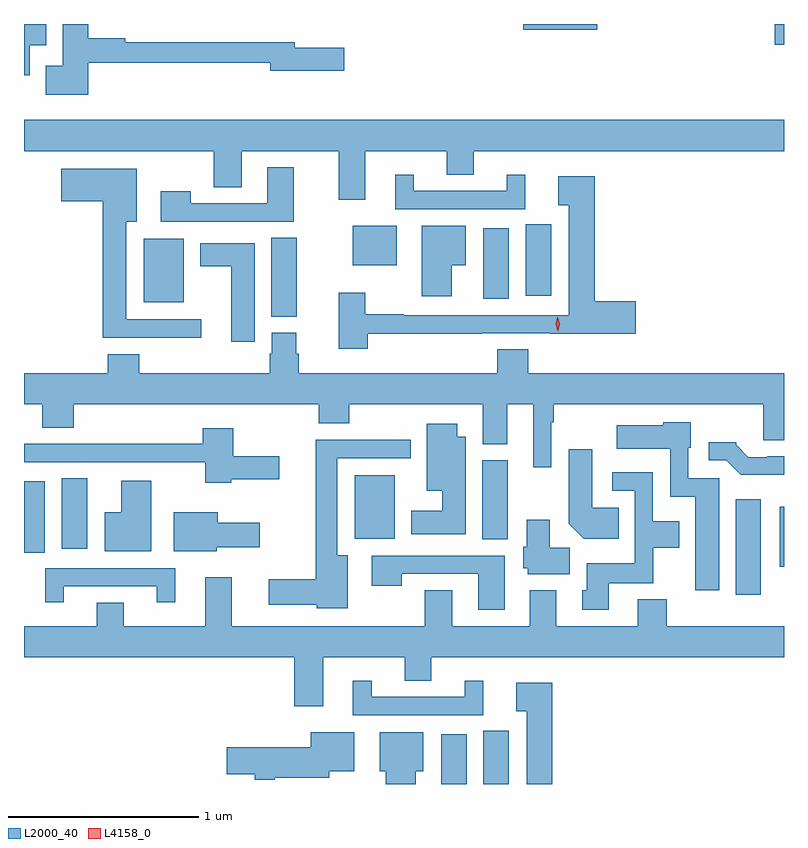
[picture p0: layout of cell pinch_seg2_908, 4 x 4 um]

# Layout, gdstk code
import gdstk
lib = gdstk.Library(unit=1e-6, precision=1e-09)
def R(c, l, rs):  # rectangles x0, y0, x1, y1
    for r in rs: c.add(gdstk.rectangle(r[:2], r[2:], *l))
def P(c, l, *ps):  # polygons
    for p in ps: c.add(gdstk.Polygon(p, *l))
L2000_40 = (2000, 40)
L4158_0 = (4158, 0)

pinch_seg2_908 = lib.new_cell('pinch_seg2_908')
R(pinch_seg2_908, L2000_40, [(603.14,640.309,603.274,640.57), (603.362,640.309,603.496,640.59), (604.691,641.304,604.822,641.809), (604.922,641.453,604.944,641.767), (600.944,641.526,601.054,641.902), (601.142,641.547,601.276,641.918), (603.356,641.596,603.49,642.012), (602.684,641.6,602.896,641.935), (602.246,642.769,602.38,643.184), (601.574,642.845,601.786,643.18), (603.362,642.862,603.496,643.234), (603.584,642.879,603.718,643.254), (602.675,643.04,602.905,643.246), (604.896,644.2,604.944,644.309), (603.572,644.278,603.961,644.309)])
P(pinch_seg2_908, L2000_40, [(601.283,644.106),(602.24,644.106),(602.24,644.063),(602.629,644.063),(602.629,644.185),(602.368,644.185),(602.368,644.214),(601.478,644.214),(601.478,644.234),(601.283,644.234),(601.283,644.309),(601.148,644.309),(601.148,644.089),(601.058,644.089),(601.058,643.937),(601.283,643.937)],
  [(600.973,644.198),(601.06,644.198),(601.06,644.309),(600.944,644.309),(600.944,644.04),(600.973,644.04)],
  [(602.74,643.64),(603.17,643.64),(603.17,643.516),(603.31,643.516),(603.31,643.64),(604.944,643.64),(604.944,643.804),(600.944,643.804),(600.944,643.64),(601.942,643.64),(601.942,643.45),(602.089,643.45),(602.089,643.64),(602.6,643.64),(602.6,643.383),(602.74,643.383)],
  [(602.365,643.555),(602.225,643.555),(602.225,643.365),(601.821,643.365),(601.821,643.429),(601.665,643.429),(601.665,643.269),(602.365,643.269)],
  [(601.876,642.756),(601.483,642.756),(601.483,643.268),(601.537,643.268),(601.537,643.546),(601.14,643.546),(601.14,643.376),(601.358,643.376),(601.358,642.659),(601.876,642.659)],
  [(603.583,643.516),(603.485,643.516),(603.485,643.431),(602.995,643.431),(602.995,643.516),(602.897,643.516),(602.897,643.335),(603.583,643.335)],
  [(602.753,642.68),(603.35,642.68),(603.35,642.681),(603.716,642.681),(603.716,642.68),(604.165,642.68),(604.165,642.851),(603.947,642.851),(603.947,643.507),(603.756,643.507),(603.756,643.355),(603.812,643.355),(603.812,642.777),(602.942,642.777),(602.942,642.782),(602.74,642.782),(602.74,642.895),(602.6,642.895),(602.6,642.6),(602.753,642.6)],
  [(603.196,643.04),(603.268,643.04),(603.268,643.246),(603.038,643.246),(603.038,642.876),(603.196,642.876)],
  [(602.158,643.156),(601.871,643.156),(601.871,643.034),(602.036,643.034),(602.036,642.636),(602.158,642.636)],
  [(603.72,642.212),(603.733,642.212),(603.733,642.308),(604.835,642.308),(604.835,642.118),(604.944,642.118),(604.944,642.472),(603.599,642.472),(603.599,642.596),(603.434,642.596),(603.434,642.472),(602.39,642.472),(602.39,642.573),(602.377,642.573),(602.377,642.684),(602.249,642.684),(602.249,642.573),(602.237,642.573),(602.237,642.472),(601.55,642.472),(601.55,642.571),(601.385,642.571),(601.385,642.472),(600.944,642.472),(600.944,642.308),(601.04,642.308),(601.04,642.184),(601.205,642.184),(601.205,642.308),(602.495,642.308),(602.495,642.209),(602.655,642.209),(602.655,642.308),(603.359,642.308),(603.359,642.097),(603.487,642.097),(603.487,642.308),(603.623,642.308),(603.623,641.976),(603.72,641.976)],
  [(604.603,641.919),(604.44,641.919),(604.44,642.078),(604.453,642.078),(604.453,642.214),(604.308,642.214),(604.308,642.196),(604.065,642.196),(604.065,642.074),(604.344,642.074),(604.344,641.822),(604.478,641.822),(604.478,641.328),(604.603,641.328)],
  [(603.268,642.136),(603.223,642.136),(603.223,642.205),(603.065,642.205),(603.065,641.852),(603.146,641.852),(603.146,641.746),(602.981,641.746),(602.981,641.624),(603.268,641.624)],
  [(602.034,641.912),(602.287,641.912),(602.287,642.034),(602.046,642.034),(602.046,642.181),(601.886,642.181),(601.886,642.101),(601.288,642.101),(601.288,642.099),(600.944,642.099),(600.944,642.003),(601.898,642.003),(601.898,641.894),(602.034,641.894)],
  [(602.647,641.512),(602.593,641.512),(602.593,642.024),(602.98,642.024),(602.98,642.122),(602.48,642.122),(602.48,641.387),(602.232,641.387),(602.232,641.252),(602.484,641.252),(602.484,641.234),(602.647,641.234)],
  [(604.944,642.033),(604.855,642.033),(604.855,642.03),(604.756,642.03),(604.692,642.094),(604.692,642.109),(604.548,642.109),(604.548,642.012),(604.641,642.012),(604.717,641.936),(604.944,641.936)],
  [(604.073,641.764),(603.934,641.764),(603.934,642.07),(603.812,642.07),(603.812,641.678),(603.89,641.6),(604.073,641.6)],
  [(604.021,641.366),(604.257,641.366),(604.257,641.552),(604.393,641.552),(604.393,641.692),(604.254,641.692),(604.254,641.949),(604.041,641.949),(604.041,641.853),(604.158,641.853),(604.158,641.47),(603.905,641.47),(603.905,641.328),(603.881,641.328),(603.881,641.226),(604.021,641.226)],
  [(601.615,641.905),(601.457,641.905),(601.457,641.74),(601.37,641.74),(601.37,641.534),(601.615,641.534)],
  [(601.959,641.554),(602.185,641.554),(602.185,641.683),(601.963,641.683),(601.963,641.74),(601.733,641.74),(601.733,641.534),(601.959,641.534)],
  [(603.817,641.552),(603.712,641.552),(603.712,641.701),(603.59,641.701),(603.59,641.559),(603.572,641.559),(603.572,641.445),(603.594,641.445),(603.594,641.414),(603.817,641.414)],
  [(603.475,641.511),(602.775,641.511),(602.775,641.352),(602.931,641.352),(602.931,641.415),(603.335,641.415),(603.335,641.226),(603.475,641.226)],
  [(601.153,641.349),(601.643,641.349),(601.643,641.265),(601.741,641.265),(601.741,641.445),(601.055,641.445),(601.055,641.265),(601.153,641.265)],
  [(602.518,640.976),(602.948,640.976),(602.948,640.852),(603.088,640.852),(603.088,640.976),(604.944,640.976),(604.944,641.14),(604.328,641.14),(604.328,641.281),(604.175,641.281),(604.175,641.14),(603.745,641.14),(603.745,641.329),(603.605,641.329),(603.605,641.14),(603.199,641.14),(603.199,641.33),(603.052,641.33),(603.052,641.14),(602.038,641.14),(602.038,641.398),(601.898,641.398),(601.898,641.14),(601.468,641.14),(601.468,641.264),(601.328,641.264),(601.328,641.14),(600.944,641.14),(600.944,640.976),(602.366,640.976),(602.366,640.719),(602.518,640.719)],
  [(603.361,640.852),(603.263,640.852),(603.263,640.767),(602.773,640.767),(602.773,640.852),(602.675,640.852),(602.675,640.671),(603.361,640.671)],
  [(603.725,640.843),(603.534,640.843),(603.534,640.691),(603.59,640.691),(603.59,640.309),(603.725,640.309)],
  [(603.007,640.376),(603.046,640.376),(603.046,640.582),(602.816,640.582),(602.816,640.376),(602.849,640.376),(602.849,640.309),(603.007,640.309)],
  [(602.263,640.343),(602.551,640.343),(602.551,640.376),(602.683,640.376),(602.683,640.582),(602.453,640.582),(602.453,640.503),(602.01,640.503),(602.01,640.361),(602.159,640.361),(602.159,640.331),(602.263,640.331)])
P(pinch_seg2_908, L4158_0, [(603.754,642.694),(603.743,642.73),(603.751,642.766),(603.751,642.766),(603.752,642.766),(603.763,642.731),(603.755,642.694),(603.755,642.694)])

lib.write_gds('pinch_seg2_908.gds')
